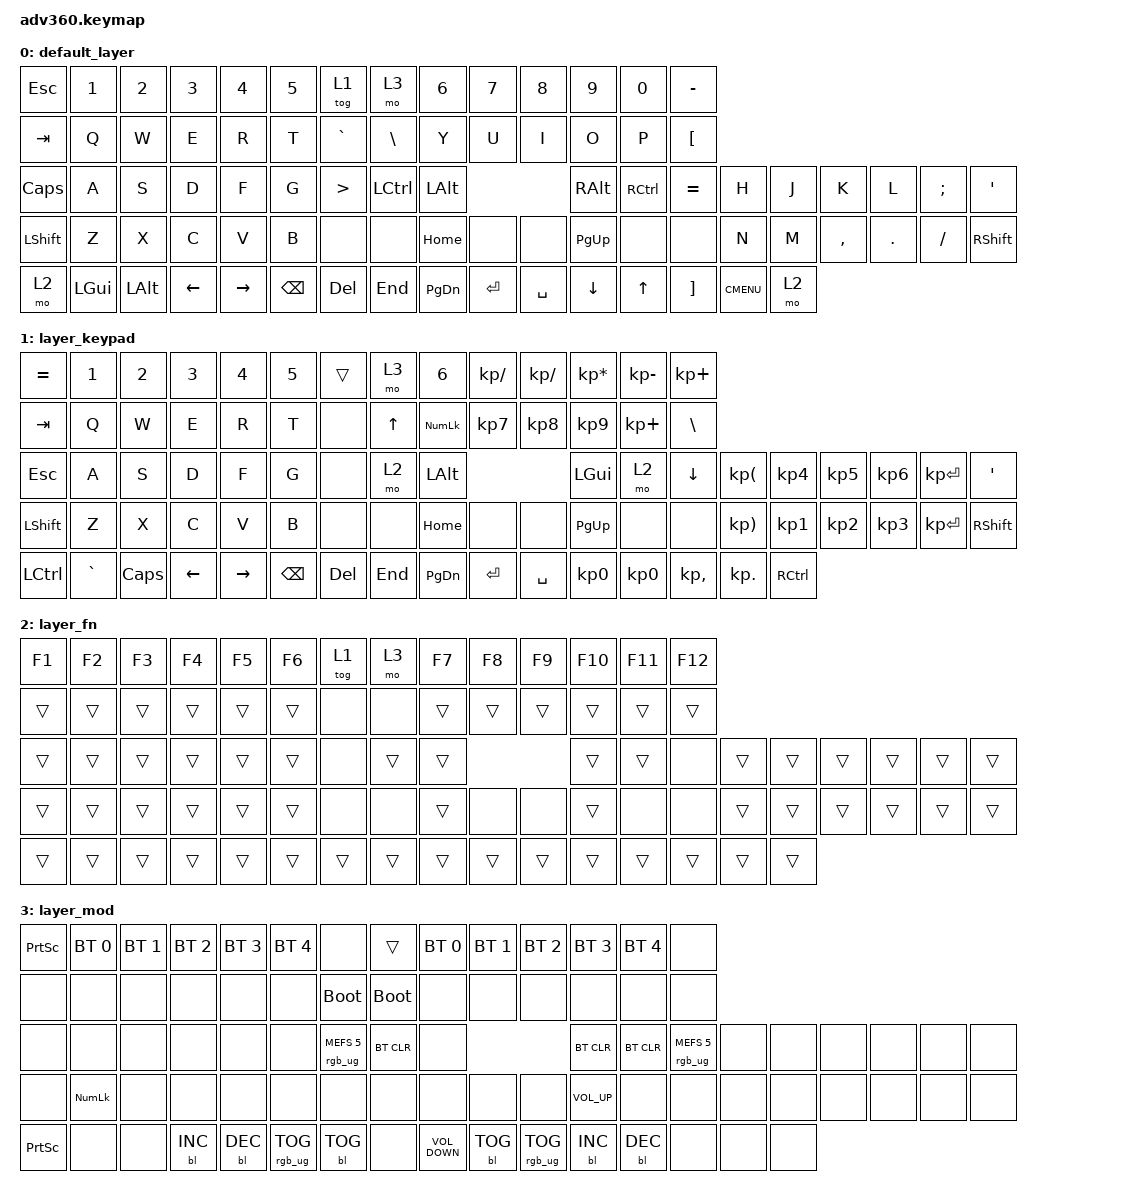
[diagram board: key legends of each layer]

/*
 * Copyright (c) 2020 The ZMK Contributors
 *
 * SPDX-License-Identifier: MIT
 */


/* THIS FILE WAS GENERATED!
 *
 * This file was generated automatically. You may or may not want to
 * edit it directly.
 */

#include <behaviors.dtsi>
#include <dt-bindings/zmk/keys.h>
#include <dt-bindings/zmk/bt.h>
#include <dt-bindings/zmk/rgb.h>
#include <dt-bindings/zmk/backlight.h>

/ {
  behaviors {
    #include "macros.dtsi"

    hm: homerow_mods {
        compatible = "zmk,behavior-hold-tap";
        label = "HOMEROW_MODS";
        #binding-cells = <2>;
        tapping-term-ms = <200>;
        quick_tap_ms = <175>;
        flavor = "tap-preferred";
        bindings = <&kp>, <&kp>;
    };
  };

    keymap {
        compatible = "zmk,keymap";


        default_layer {
            bindings = <
 &kp ESCAPE    &kp N1    &kp N2    &kp N3     &kp N4    &kp N5                      &tog 1          &mo 3     &kp N6     &kp N7     &kp N8     &kp N9     &kp N0          &kp MINUS
    &kp TAB     &kp Q     &kp W     &kp E      &kp R     &kp T                   &kp GRAVE  &kp BACKSLASH      &kp Y      &kp U      &kp I      &kp O      &kp P   &kp LEFT_BRACKET
   &kp CAPS     &kp A     &kp S     &kp D      &kp F     &kp G            &kp GREATER_THAN      &kp LCTRL   &kp LALT                         &kp RALT  &kp RCTRL          &kp EQUAL        &kp H   &kp J      &kp K    &kp L  &kp SEMI    &kp SQT
  &kp LSHFT     &kp Z     &kp X     &kp C      &kp V     &kp B                       &none          &none   &kp HOME      &none      &none  &kp PG_UP      &none              &none        &kp N   &kp M  &kp COMMA  &kp DOT  &kp FSLH  &kp RSHFT
      &mo 2  &kp LGUI  &kp LALT  &kp LEFT  &kp RIGHT  &kp BSPC                     &kp DEL        &kp END  &kp PG_DN  &kp ENTER  &kp SPACE   &kp DOWN     &kp UP  &kp RIGHT_BRACKET  &kp K_CMENU   &mo 2
            >;
        };

        layer_keypad {
            bindings = <
 &kp EQUAL     &kp N1    &kp N2    &kp N3     &kp N4    &kp N5             &trans    &mo 3      &kp N6  &kp KP_SLASH  &kp KP_SLASH  &kp KP_MULTIPLY  &kp KP_MINUS   &kp KP_PLUS
   &kp TAB      &kp Q     &kp W     &kp E      &kp R     &kp T              &none   &kp UP  &kp KP_NUM     &kp KP_N7     &kp KP_N8        &kp KP_N9   &kp KP_PLUS      &kp BSLH
   &kp ESC      &kp A     &kp S     &kp D      &kp F     &kp G              &none    &mo 2    &kp LALT                                     &kp LGUI         &mo 2      &kp DOWN   &kp KP_LEFT_PARENTHESIS  &kp KP_N4  &kp KP_N5  &kp KP_N6  &kp KP_ENTER    &kp SQT
 &kp LSHFT      &kp Z     &kp X     &kp C      &kp V     &kp B              &none    &none    &kp HOME         &none         &none        &kp PG_UP         &none         &none  &kp KP_RIGHT_PARENTHESIS  &kp KP_N1  &kp KP_N2  &kp KP_N3  &kp KP_ENTER  &kp RSHFT
 &kp LCTRL  &kp GRAVE  &kp CAPS  &kp LEFT  &kp RIGHT  &kp BSPC            &kp DEL  &kp END   &kp PG_DN     &kp ENTER     &kp SPACE        &kp KP_N0     &kp KP_N0  &kp KP_COMMA                &kp KP_DOT  &kp RCTRL
            >;
        };

        layer_fn {
            bindings = <
 &kp F1  &kp F2  &kp F3  &kp F4  &kp F5  &kp F6            &tog 1   &mo 3  &kp F7  &kp F8  &kp F9  &kp F10  &kp F11  &kp F12
 &trans  &trans  &trans  &trans  &trans  &trans             &none   &none  &trans  &trans  &trans   &trans   &trans   &trans
 &trans  &trans  &trans  &trans  &trans  &trans             &none  &trans  &trans                   &trans   &trans    &none  &trans  &trans  &trans  &trans  &trans  &trans
 &trans  &trans  &trans  &trans  &trans  &trans             &none   &none  &trans   &none   &none   &trans    &none    &none  &trans  &trans  &trans  &trans  &trans  &trans
 &trans  &trans  &trans  &trans  &trans  &trans            &trans  &trans  &trans  &trans  &trans   &trans   &trans   &trans  &trans  &trans
            >;
        };

        layer_mod {
            bindings = <
 &kp PRINTSCREEN  &bt BT_SEL 0  &bt BT_SEL 1  &bt BT_SEL 2  &bt BT_SEL 3     &bt BT_SEL 4                             &none       &trans       &bt BT_SEL 0  &bt BT_SEL 1     &bt BT_SEL 2     &bt BT_SEL 3  &bt BT_SEL 4                   &none
           &none         &none         &none         &none         &none            &none                       &bootloader  &bootloader              &none         &none            &none            &none         &none                   &none
           &none         &none         &none         &none         &none            &none            &rgb_ug RGB_MEFS_CMD 5   &bt BT_CLR              &none                                      &bt BT_CLR    &bt BT_CLR  &rgb_ug RGB_MEFS_CMD 5   &none   &none   &none   &none   &none   &none
           &none   &kp KP_NLCK         &none         &none         &none            &none                             &none        &none              &none         &none            &none  &kp K_VOLUME_UP         &none                   &none   &none   &none   &none   &none   &none   &none
 &kp PRINTSCREEN         &none         &none    &bl BL_INC    &bl BL_DEC  &rgb_ug RGB_TOG                        &bl BL_TOG        &none  &kp K_VOLUME_DOWN    &bl BL_TOG  &rgb_ug RGB_TOG       &bl BL_INC    &bl BL_DEC                   &none   &none   &none
            >;
        };

    };
};
